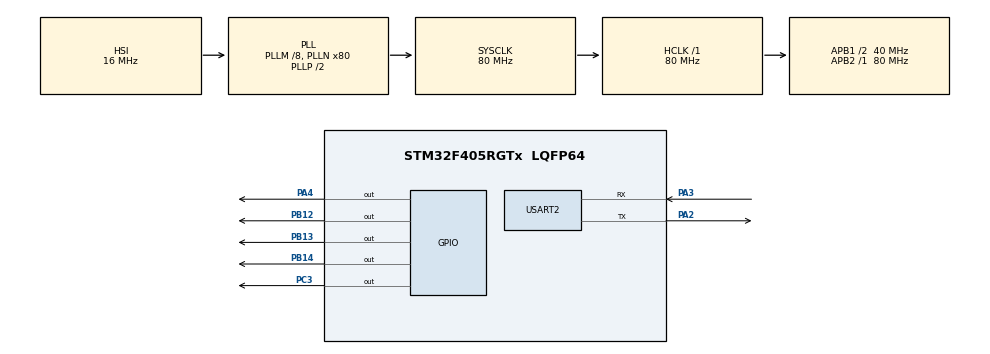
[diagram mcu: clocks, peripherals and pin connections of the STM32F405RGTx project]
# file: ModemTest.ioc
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Dma.Request0=USART2_RX
Dma.Request1=USART2_TX
Dma.USART2_RX.0.Direction=DMA_PERIPH_TO_MEMORY
Dma.USART2_RX.0.FIFOMode=DMA_FIFOMODE_DISABLE
Dma.USART2_RX.0.Instance=DMA1_Stream5
Dma.USART2_RX.0.MemDataAlignment=DMA_MDATAALIGN_BYTE
Dma.USART2_RX.0.MemInc=DMA_MINC_ENABLE
Dma.USART2_RX.0.Mode=DMA_CIRCULAR
Dma.USART2_RX.0.PeriphDataAlignment=DMA_PDATAALIGN_BYTE
Dma.USART2_RX.0.PeriphInc=DMA_PINC_DISABLE
Dma.USART2_RX.0.Priority=DMA_PRIORITY_LOW
Dma.USART2_TX.1.Direction=DMA_MEMORY_TO_PERIPH
Dma.USART2_TX.1.FIFOMode=DMA_FIFOMODE_DISABLE
Dma.USART2_TX.1.Instance=DMA1_Stream6
Dma.USART2_TX.1.MemDataAlignment=DMA_MDATAALIGN_BYTE
Dma.USART2_TX.1.MemInc=DMA_MINC_ENABLE
Dma.USART2_TX.1.Mode=DMA_NORMAL
Dma.USART2_TX.1.PeriphDataAlignment=DMA_PDATAALIGN_BYTE
Dma.USART2_TX.1.PeriphInc=DMA_PINC_DISABLE
Dma.USART2_TX.1.Priority=DMA_PRIORITY_LOW
FREERTOS.INCLUDE_xEventGroupSetBitFromISR=1
FREERTOS.MEMORY_ALLOCATION=0
FREERTOS.Tasks01=defaultTask,24,128,StartDefaultTask,Default,NULL,Dynamic,NULL,NULL
FREERTOS.configCHECK_FOR_STACK_OVERFLOW=1
FREERTOS.configUSE_IDLE_HOOK=0
FREERTOS.configUSE_TIMERS=1
Mcu.Family=STM32F4
Mcu.Name=STM32F405RGTx
Mcu.Package=LQFP64
NVIC.DMA1_Stream5_IRQn=true\:5\:0\:false\:false\:true\:true\:false\:true
NVIC.DMA1_Stream6_IRQn=true\:5\:0\:false\:false\:true\:true\:false\:true
NVIC.PriorityGroup=NVIC_PRIORITYGROUP_4
NVIC.TIM1_UP_TIM10_IRQn=true\:0\:0\:false\:false\:true\:false\:false\:true
NVIC.TimeBase=TIM1_UP_TIM10_IRQn
NVIC.TimeBaseIP=TIM1
NVIC.USART2_IRQn=true\:5\:0\:false\:false\:true\:true\:true\:true
PA13.Mode=Trace_Asynchronous_SW
PA13.Signal=SYS_JTMS-SWDIO
PA14.Mode=Trace_Asynchronous_SW
PA14.Signal=SYS_JTCK-SWCLK
PA2.Mode=Asynchronous
PA2.Signal=USART2_TX
PA3.Mode=Asynchronous
PA3.Signal=USART2_RX
PA4.Signal=GPIO_Output
PB12.Signal=GPIO_Output
PB13.Signal=GPIO_Output
PB14.Signal=GPIO_Output
PB3.Mode=Trace_Asynchronous_SW
PB3.Signal=SYS_JTDO-SWO
PC3.Signal=GPIO_Output
PH0-OSC_IN.Mode=HSE-External-Oscillator
PH0-OSC_IN.Signal=RCC_OSC_IN
PH1-OSC_OUT.Mode=HSE-External-Oscillator
PH1-OSC_OUT.Signal=RCC_OSC_OUT
ProjectManager.HeapSize=0x200
ProjectManager.StackSize=0x400
ProjectManager.TargetToolchain=TrueSTUDIO
RCC.48MHZClocksFreq_Value=40000000
RCC.AHBFreq_Value=80000000
RCC.APB1CLKDivider=RCC_HCLK_DIV2
RCC.APB1Freq_Value=40000000
RCC.APB1TimFreq_Value=80000000
RCC.APB2Freq_Value=80000000
RCC.APB2TimFreq_Value=80000000
RCC.CortexFreq_Value=80000000
RCC.HCLKFreq_Value=80000000
RCC.HSE_VALUE=25000000
RCC.HSI_VALUE=16000000
RCC.LSE_VALUE=32768
RCC.PLLM=8
RCC.PLLN=80
RCC.SYSCLKFreq_VALUE=80000000
RCC.SYSCLKSource=RCC_SYSCLKSOURCE_PLLCLK
RCC.VCOOutputFreq_Value=160000000
USART2.VirtualMode=VM_ASYNC
VP_FREERTOS_VS_CMSIS_V2.Mode=CMSIS_V2
VP_SYS_VS_tim1.Mode=TIM1
board=custom

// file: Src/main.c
/* USER CODE BEGIN Header */
/**
  ******************************************************************************
  * @file           : main.c
  * @brief          : Main program body
  ******************************************************************************
  * @attention
  *
  * <h2><center>&copy; Copyright (c) 2019 STMicroelectronics.
  * All rights reserved.</center></h2>
  *
  * This software component is licensed by ST under Ultimate Liberty license
  * SLA0044, the "License"; You may not use this file except in compliance with
  * the License. You may obtain a copy of the License at:
  *                             www.st.com/SLA0044
  *
  ******************************************************************************
  */
/* USER CODE END Header */

#include "main.h"
#include "cmsis_os.h"

/* USER CODE BEGIN Includes */
#include "task.h"
#include "string.h"
#include "module.h"
/* USER CODE END Includes */

UART_HandleTypeDef huart2;
DMA_HandleTypeDef hdma_usart2_rx;
DMA_HandleTypeDef hdma_usart2_tx;

osThreadId_t defaultTaskHandle;
/* USER CODE BEGIN PV */
osThreadId_t MyTaskHandle;
/* USER CODE END PV */

void SystemClock_Config(void);
static void MX_GPIO_Init(void);
static void MX_DMA_Init(void);
static void MX_USART2_UART_Init(void);
void StartDefaultTask(void *argument);

/* USER CODE BEGIN PFP */
void MyTask(void *argument);
/* USER CODE END PFP */

/* USER CODE BEGIN 0 */
void printMsg(char* data, int len)
{
	for(int i = 0; i<len; i++)
	{
		ITM_SendChar(data[i]);
	}
}

void vApplicationStackOverflowHook (TaskHandle_t xTask, signed char *pcTaskName)
{
	printMsg("Task Overflow: ", strlen("Task Overflow: "));
	printMsg((char*)pcTaskName,strlen((char*)pcTaskName));
	printMsg("\r\n",2);
}
/* USER CODE END 0 */

int main(void)
{

  /* MCU Configuration--------------------------------------------------------*/

  /* Reset of all peripherals, Initializes the Flash interface and the Systick. */
  HAL_Init();

  /* Configure the system clock */
  SystemClock_Config();

  /* Initialize all configured peripherals */
  MX_GPIO_Init();
  MX_DMA_Init();
  MX_USART2_UART_Init();

  osKernelInitialize();

  /* USER CODE BEGIN RTOS_QUEUES */
  /* add queues, ... */
	moduleQueueInitialize();
  /* USER CODE END RTOS_QUEUES */

  /* Create the thread(s) */
  /* definition and creation of defaultTask */
  const osThreadAttr_t defaultTask_attributes = {
    .name = "defaultTask",
    .priority = (osPriority_t) osPriorityNormal,
    .stack_size = 512
  };
  defaultTaskHandle = osThreadNew(StartDefaultTask, NULL, &defaultTask_attributes);

  /* USER CODE BEGIN RTOS_THREADS */
  /* add threads, ... */
/*
  const osThreadAttr_t MyTask_attributes = {
    .name = "MyTask",
    .priority = (osPriority_t) osPriorityNormal,
    .stack_size = 128
  };
   MyTaskHandle = osThreadNew(MyTask, NULL, &MyTask_attributes);

*/
  /* USER CODE END RTOS_THREADS */

  /* Start scheduler */
  osKernelStart();

  /* We should never get here as control is now taken by the scheduler */

  /* Infinite loop */
  while (1)
  {

  }
}

void SystemClock_Config(void)
{
  RCC_OscInitTypeDef RCC_OscInitStruct = {0};
  RCC_ClkInitTypeDef RCC_ClkInitStruct = {0};

  /** Configure the main internal regulator output voltage
  */
  __HAL_RCC_PWR_CLK_ENABLE();
  __HAL_PWR_VOLTAGESCALING_CONFIG(PWR_REGULATOR_VOLTAGE_SCALE1);
  /** Initializes the CPU, AHB and APB busses clocks
  */
  RCC_OscInitStruct.OscillatorType = RCC_OSCILLATORTYPE_HSI;
  RCC_OscInitStruct.HSIState = RCC_HSI_ON;
  RCC_OscInitStruct.HSICalibrationValue = RCC_HSICALIBRATION_DEFAULT;
  RCC_OscInitStruct.PLL.PLLState = RCC_PLL_ON;
  RCC_OscInitStruct.PLL.PLLSource = RCC_PLLSOURCE_HSI;
  RCC_OscInitStruct.PLL.PLLM = 8;
  RCC_OscInitStruct.PLL.PLLN = 80;
  RCC_OscInitStruct.PLL.PLLP = RCC_PLLP_DIV2;
  RCC_OscInitStruct.PLL.PLLQ = 4;
  if (HAL_RCC_OscConfig(&RCC_OscInitStruct) != HAL_OK)
  {
    Error_Handler();
  }
  /** Initializes the CPU, AHB and APB busses clocks
  */
  RCC_ClkInitStruct.ClockType = RCC_CLOCKTYPE_HCLK|RCC_CLOCKTYPE_SYSCLK
                              |RCC_CLOCKTYPE_PCLK1|RCC_CLOCKTYPE_PCLK2;
  RCC_ClkInitStruct.SYSCLKSource = RCC_SYSCLKSOURCE_PLLCLK;
  RCC_ClkInitStruct.AHBCLKDivider = RCC_SYSCLK_DIV1;
  RCC_ClkInitStruct.APB1CLKDivider = RCC_HCLK_DIV2;
  RCC_ClkInitStruct.APB2CLKDivider = RCC_HCLK_DIV1;

  if (HAL_RCC_ClockConfig(&RCC_ClkInitStruct, FLASH_LATENCY_2) != HAL_OK)
  {
    Error_Handler();
  }
}

static void MX_USART2_UART_Init(void)
{

  huart2.Instance = USART2;
  huart2.Init.BaudRate = 115200;
  huart2.Init.WordLength = UART_WORDLENGTH_8B;
  huart2.Init.StopBits = UART_STOPBITS_1;
  huart2.Init.Parity = UART_PARITY_NONE;
  huart2.Init.Mode = UART_MODE_TX_RX;
  huart2.Init.HwFlowCtl = UART_HWCONTROL_NONE;
  huart2.Init.OverSampling = UART_OVERSAMPLING_16;
  if (HAL_UART_Init(&huart2) != HAL_OK)
  {
    Error_Handler();
  }

}

static void MX_DMA_Init(void)
{

  /* DMA controller clock enable */
  __HAL_RCC_DMA1_CLK_ENABLE();

  /* DMA interrupt init */
  /* DMA1_Stream5_IRQn interrupt configuration */
  HAL_NVIC_SetPriority(DMA1_Stream5_IRQn, 5, 0);
  HAL_NVIC_EnableIRQ(DMA1_Stream5_IRQn);
  /* DMA1_Stream6_IRQn interrupt configuration */
  HAL_NVIC_SetPriority(DMA1_Stream6_IRQn, 5, 0);
  HAL_NVIC_EnableIRQ(DMA1_Stream6_IRQn);

}

static void MX_GPIO_Init(void)
{
  GPIO_InitTypeDef GPIO_InitStruct = {0};

  /* GPIO Ports Clock Enable */
  __HAL_RCC_GPIOH_CLK_ENABLE();
  __HAL_RCC_GPIOC_CLK_ENABLE();
  __HAL_RCC_GPIOA_CLK_ENABLE();
  __HAL_RCC_GPIOB_CLK_ENABLE();

  /*Configure GPIO pin Output Level */
  HAL_GPIO_WritePin(GPIOC, GPIO_PIN_3, GPIO_PIN_RESET);

  /*Configure GPIO pin Output Level */
  HAL_GPIO_WritePin(GPIOA, GPIO_PIN_4, GPIO_PIN_RESET);

  /*Configure GPIO pin Output Level */
  HAL_GPIO_WritePin(GPIOB, GPIO_PIN_12|GPIO_PIN_13|GPIO_PIN_14, GPIO_PIN_RESET);

  /*Configure GPIO pin : PC3 */
  GPIO_InitStruct.Pin = GPIO_PIN_3;
  GPIO_InitStruct.Mode = GPIO_MODE_OUTPUT_PP;
  GPIO_InitStruct.Pull = GPIO_NOPULL;
  GPIO_InitStruct.Speed = GPIO_SPEED_FREQ_LOW;
  HAL_GPIO_Init(GPIOC, &GPIO_InitStruct);

  /*Configure GPIO pin : PA4 */
  GPIO_InitStruct.Pin = GPIO_PIN_4;
  GPIO_InitStruct.Mode = GPIO_MODE_OUTPUT_PP;
  GPIO_InitStruct.Pull = GPIO_NOPULL;
  GPIO_InitStruct.Speed = GPIO_SPEED_FREQ_LOW;
  HAL_GPIO_Init(GPIOA, &GPIO_InitStruct);

  /*Configure GPIO pins : PB12 PB13 PB14 */
  GPIO_InitStruct.Pin = GPIO_PIN_12|GPIO_PIN_13|GPIO_PIN_14;
  GPIO_InitStruct.Mode = GPIO_MODE_OUTPUT_PP;
  GPIO_InitStruct.Pull = GPIO_NOPULL;
  GPIO_InitStruct.Speed = GPIO_SPEED_FREQ_LOW;
  HAL_GPIO_Init(GPIOB, &GPIO_InitStruct);

}

/* USER CODE BEGIN 4 */
void MyTask(void *argument)
{
	while(1)
	{
		osDelay(1000);
	}
}

/* USER CODE END 4 */

void StartDefaultTask(void *argument)
{

  /* USER CODE BEGIN 5 */
	moduleInit();
  /* Infinite loop */
  for(;;)
  {
  }
  /* USER CODE END 5 */
}

void HAL_TIM_PeriodElapsedCallback(TIM_HandleTypeDef *htim)
{
  if (htim->Instance == TIM1) {
    HAL_IncTick();
  }
}

void Error_Handler(void)
{
}

/************************ (C) COPYRIGHT STMicroelectronics *****END OF FILE****/
